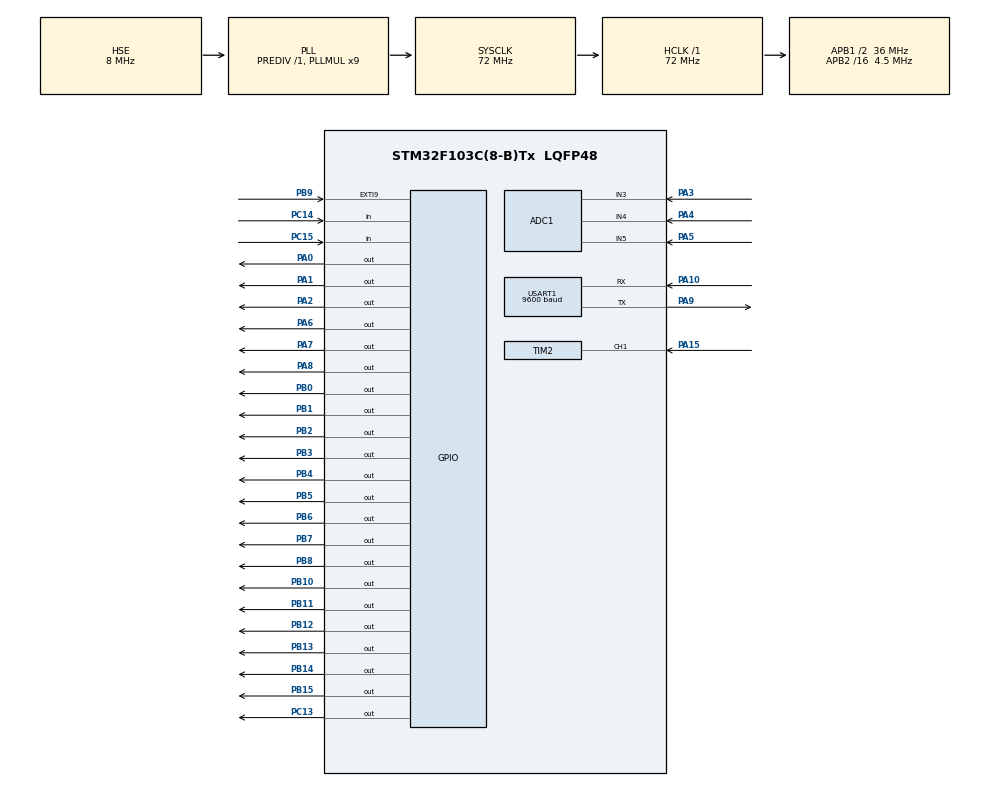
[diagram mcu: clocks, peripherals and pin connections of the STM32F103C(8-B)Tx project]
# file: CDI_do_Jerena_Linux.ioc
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ADC1.Channel-0\#ChannelRegularConversion=ADC_CHANNEL_3
ADC1.Channel-1\#ChannelRegularConversion=ADC_CHANNEL_4
ADC1.Channel-2\#ChannelRegularConversion=ADC_CHANNEL_5
ADC1.Channel-3\#ChannelRegularConversion=ADC_CHANNEL_TEMPSENSOR
ADC1.ContinuousConvMode=ENABLE
ADC1.NbrOfConversion=4
ADC1.NbrOfConversionFlag=1
ADC1.Rank-0\#ChannelRegularConversion=1
ADC1.Rank-1\#ChannelRegularConversion=2
ADC1.Rank-2\#ChannelRegularConversion=3
ADC1.Rank-3\#ChannelRegularConversion=4
ADC1.SamplingTime-0\#ChannelRegularConversion=ADC_SAMPLETIME_239CYCLES_5
ADC1.SamplingTime-1\#ChannelRegularConversion=ADC_SAMPLETIME_239CYCLES_5
ADC1.SamplingTime-2\#ChannelRegularConversion=ADC_SAMPLETIME_239CYCLES_5
ADC1.SamplingTime-3\#ChannelRegularConversion=ADC_SAMPLETIME_239CYCLES_5
ADC1.master=1
Dma.ADC1.1.Direction=DMA_PERIPH_TO_MEMORY
Dma.ADC1.1.Instance=DMA1_Channel1
Dma.ADC1.1.MemDataAlignment=DMA_MDATAALIGN_WORD
Dma.ADC1.1.MemInc=DMA_MINC_ENABLE
Dma.ADC1.1.Mode=DMA_CIRCULAR
Dma.ADC1.1.PeriphDataAlignment=DMA_PDATAALIGN_WORD
Dma.ADC1.1.PeriphInc=DMA_PINC_DISABLE
Dma.ADC1.1.Priority=DMA_PRIORITY_LOW
Dma.Request0=USART1_RX
Dma.Request1=ADC1
Dma.Request2=USART1_TX
Dma.USART1_RX.0.Direction=DMA_PERIPH_TO_MEMORY
Dma.USART1_RX.0.Instance=DMA1_Channel5
Dma.USART1_RX.0.MemDataAlignment=DMA_MDATAALIGN_BYTE
Dma.USART1_RX.0.MemInc=DMA_MINC_ENABLE
Dma.USART1_RX.0.Mode=DMA_NORMAL
Dma.USART1_RX.0.PeriphDataAlignment=DMA_PDATAALIGN_BYTE
Dma.USART1_RX.0.PeriphInc=DMA_PINC_DISABLE
Dma.USART1_RX.0.Priority=DMA_PRIORITY_LOW
Dma.USART1_TX.2.Direction=DMA_MEMORY_TO_PERIPH
Dma.USART1_TX.2.Instance=DMA1_Channel4
Dma.USART1_TX.2.MemDataAlignment=DMA_MDATAALIGN_BYTE
Dma.USART1_TX.2.MemInc=DMA_MINC_ENABLE
Dma.USART1_TX.2.Mode=DMA_NORMAL
Dma.USART1_TX.2.PeriphDataAlignment=DMA_PDATAALIGN_BYTE
Dma.USART1_TX.2.PeriphInc=DMA_PINC_DISABLE
Dma.USART1_TX.2.Priority=DMA_PRIORITY_LOW
IWDG.Reload=2000
Mcu.Family=STM32F1
Mcu.Name=STM32F103C(8-B)Tx
Mcu.Package=LQFP48
NVIC.ADC1_2_IRQn=true\:1\:0\:true\:false\:true\:true\:true\:true
NVIC.DMA1_Channel1_IRQn=true\:0\:0\:false\:false\:true\:false\:true\:true
NVIC.DMA1_Channel4_IRQn=true\:0\:0\:false\:false\:true\:false\:true\:true
NVIC.DMA1_Channel5_IRQn=true\:0\:0\:false\:false\:true\:false\:true\:true
NVIC.EXTI9_5_IRQn=true\:0\:0\:false\:false\:true\:true\:true\:true
NVIC.FLASH_IRQn=true\:0\:0\:false\:false\:true\:true\:true\:true
NVIC.PVD_IRQn=true\:0\:0\:false\:false\:true\:true\:true\:true
NVIC.PriorityGroup=NVIC_PRIORITYGROUP_3
NVIC.RCC_IRQn=true\:0\:0\:false\:false\:true\:true\:false\:true
NVIC.TIM2_IRQn=true\:0\:0\:true\:false\:true\:true\:true\:true
NVIC.TIM4_IRQn=true\:0\:0\:true\:false\:true\:true\:true\:true
NVIC.USART1_IRQn=true\:3\:0\:true\:false\:true\:true\:true\:true
PA0-WKUP.GPIO_Speed=GPIO_SPEED_FREQ_HIGH
PA0-WKUP.Signal=GPIO_Output
PA1.GPIO_Speed=GPIO_SPEED_FREQ_HIGH
PA1.Signal=GPIO_Output
PA10.Mode=Asynchronous
PA10.Signal=USART1_RX
PA11.Signal=CAN_RX
PA12.Signal=CAN_TX
PA13.Mode=Serial_Wire
PA13.Signal=SYS_JTMS-SWDIO
PA14.Mode=Serial_Wire
PA14.Signal=SYS_JTCK-SWCLK
PA15.Signal=S_TIM2_CH1_ETR
PA2.GPIO_Speed=GPIO_SPEED_FREQ_HIGH
PA2.Signal=GPIO_Output
PA3.Signal=ADCx_IN3
PA4.Signal=ADCx_IN4
PA5.Signal=ADCx_IN5
PA6.GPIO_Speed=GPIO_SPEED_FREQ_HIGH
PA6.Signal=GPIO_Output
PA7.GPIO_ModeDefaultOutputPP=GPIO_MODE_OUTPUT_OD
PA7.Signal=GPIO_Output
PA8.Signal=GPIO_Output
PA9.Mode=Asynchronous
PA9.Signal=USART1_TX
PB0.GPIO_Speed=GPIO_SPEED_FREQ_HIGH
PB0.Signal=GPIO_Output
PB1.GPIO_ModeDefaultOutputPP=GPIO_MODE_OUTPUT_PP
PB1.GPIO_PuPd=GPIO_NOPULL
PB1.GPIO_Speed=GPIO_SPEED_FREQ_HIGH
PB1.Signal=GPIO_Output
PB10.Signal=GPIO_Output
PB11.Signal=GPIO_Output
PB12.Signal=GPIO_Output
PB13.Signal=GPIO_Output
PB14.Signal=GPIO_Output
PB15.Signal=GPIO_Output
PB2.Signal=GPIO_Output
PB3.Signal=GPIO_Output
PB4.Signal=GPIO_Output
PB5.Signal=GPIO_Output
PB6.Signal=GPIO_Output
PB7.Signal=GPIO_Output
PB8.GPIO_ModeDefaultOutputPP=GPIO_MODE_OUTPUT_OD
PB8.Signal=GPIO_Output
PB9.Signal=GPXTI9
PC13-TAMPER-RTC.GPIO_ModeDefaultOutputPP=GPIO_MODE_OUTPUT_PP
PC13-TAMPER-RTC.GPIO_PuPd=GPIO_NOPULL
PC13-TAMPER-RTC.GPIO_Speed=GPIO_SPEED_FREQ_HIGH
PC13-TAMPER-RTC.PinState=GPIO_PIN_RESET
PC13-TAMPER-RTC.Signal=GPIO_Output
PC14-OSC32_IN.Signal=GPIO_Input
PC15-OSC32_OUT.Signal=GPIO_Input
PD0-OSC_IN.Mode=HSE-External-Oscillator
PD0-OSC_IN.Signal=RCC_OSC_IN
PD1-OSC_OUT.Mode=HSE-External-Oscillator
PD1-OSC_OUT.Signal=RCC_OSC_OUT
ProjectManager.HeapSize=0x200
ProjectManager.StackSize=0x400
ProjectManager.TargetToolchain=STM32CubeIDE
RCC.ADCPresc=RCC_ADCPCLK2_DIV8
RCC.AHBFreq_Value=72000000
RCC.APB1CLKDivider=RCC_HCLK_DIV2
RCC.APB1Freq_Value=36000000
RCC.APB1TimFreq_Value=72000000
RCC.APB2CLKDivider=RCC_HCLK_DIV16
RCC.APB2Freq_Value=4500000
RCC.APB2TimFreq_Value=9000000
RCC.HCLKFreq_Value=72000000
RCC.PLLMUL=RCC_PLL_MUL9
RCC.PLLSourceVirtual=RCC_PLLSOURCE_HSE
RCC.SYSCLKFreq_VALUE=72000000
RCC.SYSCLKSource=RCC_SYSCLKSOURCE_PLLCLK
RCC.USBFreq_Value=72000000
SH.ADCx_IN3.0=ADC1_IN3,IN3
SH.ADCx_IN4.0=ADC1_IN4,IN4
SH.ADCx_IN5.0=ADC1_IN5,IN5
SH.S_TIM2_CH1_ETR.0=TIM2_CH1,Input_Capture1_from_TI1
SH.S_TIM2_CH1_ETR.1=TIM2_CH1,Input_Capture2_from_TI1
TIM2.AutoReloadPreload=TIM_AUTORELOAD_PRELOAD_DISABLE
TIM2.Channel-Input_Capture1_from_TI1=TIM_CHANNEL_1
TIM2.Channel-Input_Capture2_from_TI1=TIM_CHANNEL_2
TIM2.ClockDivision=TIM_CLOCKDIVISION_DIV1
TIM2.CounterMode=TIM_COUNTERMODE_UP
TIM2.ICFilter_CH1=3
TIM2.ICPolarity_CH1=TIM_INPUTCHANNELPOLARITY_FALLING
TIM2.ICPolarity_CH2=TIM_INPUTCHANNELPOLARITY_RISING
TIM2.Period=65535
TIM2.Prescaler=55
TIM2.TIM_MasterOutputTrigger=TIM_TRGO_RESET
TIM4.Channel-Output\ Compare1\ No\ Output=TIM_CHANNEL_1
TIM4.Channel-Output\ Compare2\ No\ Output=TIM_CHANNEL_2
TIM4.Channel-Output\ Compare3\ No\ Output=TIM_CHANNEL_3
TIM4.Channel-Output\ Compare4\ No\ Output=TIM_CHANNEL_4
TIM4.OCMode_1=TIM_OCMODE_ACTIVE
TIM4.OCMode_2=TIM_OCMODE_ACTIVE
TIM4.OCPolarity_1=TIM_OCPOLARITY_LOW
TIM4.OCPolarity_2=TIM_OCPOLARITY_LOW
TIM4.Period=65535
TIM4.Prescaler=55
USART1.BaudRate=9600
USART1.VirtualMode=VM_ASYNC
VP_ADC1_TempSens_Input.Mode=IN-TempSens
VP_IWDG_VS_IWDG.Mode=IWDG_Activate
VP_TIM2_VS_ClockSourceINT.Mode=Internal
VP_TIM4_VS_ClockSourceINT.Mode=Internal
VP_TIM4_VS_no_output1.Mode=Output Compare1 No Output
VP_TIM4_VS_no_output2.Mode=Output Compare2 No Output
VP_TIM4_VS_no_output3.Mode=Output Compare3 No Output
VP_TIM4_VS_no_output4.Mode=Output Compare4 No Output
board=custom

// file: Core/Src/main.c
/* USER CODE BEGIN Header */
/**
  ******************************************************************************
  * @file           : main.c
  * @brief          : Main program body
  ******************************************************************************
  * @attention
  *
  * <h2><center>&copy; Copyright (c) 2020 STMicroelectronics.
  * All rights reserved.</center></h2>
  *
  * This software component is licensed by ST under BSD 3-Clause license,
  * the "License"; You may not use this file except in compliance with the
  * License. You may obtain a copy of the License at:
  *                        opensource.org/licenses/BSD-3-Clause
  *
  ******************************************************************************
  */
/* USER CODE END Header */
#include "main.h"

/* USER CODE BEGIN Includes */
#include "IO_CONTROL.h"
#include "GENERAL_DEF.h"
#include "SCHEDULLER.h"
#include "FLASH_PAGE.h"
#include "USART_COMM.h"
#include "TIMER_FUNC.h"
#include "MATH_LIB.h"
#include "IGN_MGMT.h"
#include "APPLICATION.h"

/* USER CODE END Includes */

ADC_HandleTypeDef hadc1;
DMA_HandleTypeDef hdma_adc1;

IWDG_HandleTypeDef hiwdg;

TIM_HandleTypeDef htim2;
TIM_HandleTypeDef htim4;

UART_HandleTypeDef huart1;
DMA_HandleTypeDef hdma_usart1_rx;
DMA_HandleTypeDef hdma_usart1_tx;

void SystemClock_Config(void);
static void MX_GPIO_Init(void);
static void MX_DMA_Init(void);
static void MX_TIM2_Init(void);
static void MX_TIM4_Init(void);
static void MX_ADC1_Init(void);
static void MX_USART1_UART_Init(void);
static void MX_IWDG_Init(void);

int main(void)
{

  /* MCU Configuration--------------------------------------------------------*/

  /* Reset of all peripherals, Initializes the Flash interface and the Systick. */
  HAL_Init();

  /* USER CODE BEGIN Init */

  //System Initialization
  memoryInitialization();
  resetCauseAnalysis();     //Needs to running after memoryInitialization();
  Variables_Init();

  /* USER CODE END Init */

  /* Configure the system clock */
  SystemClock_Config();

  /* Initialize all configured peripherals */
  MX_GPIO_Init();
  MX_DMA_Init();
  MX_TIM2_Init();
  MX_TIM4_Init();
  MX_ADC1_Init();
  MX_USART1_UART_Init();
  MX_IWDG_Init();
  /* USER CODE BEGIN 2 */
  //I will insert the routine to overwrite the interruption edge according FLASH calibration
  overwriteIntEdgeFromCalib();

  HAL_ADC_Start_DMA(&hadc1,adcInputs,4);
  __HAL_TIM_ENABLE_IT(&htim2, TIM_IT_UPDATE);
  HAL_TIM_IC_Start_IT(&htim2, TIM_CHANNEL_1);
  HAL_TIM_IC_Start_IT(&htim2, TIM_CHANNEL_2);
  HAL_UART_Receive_DMA(&huart1, (uint8_t*)UART1_rxBuffer, sizeof(UART1_rxBuffer));
  HAL_UART_Transmit_DMA(&huart1, (uint8_t*)UART1_txBuffer, sizeof(UART1_txBuffer));

  //Hardware initialization
  Hardware_Init();
  /* USER CODE END 2 */

  /* Infinite loop */
  /* USER CODE BEGIN WHILE */
  while (TRUE)
  {

	//Update the pulse calc scenario
    if (scenario.Update_calc == TRUE)
    {
        Set_Pulse_Program();
        scenario.Update_calc = FALSE;
    }

    Running_Scheduller();

    /* USER CODE END WHILE */

  }
}

void SystemClock_Config(void)
{
  RCC_OscInitTypeDef RCC_OscInitStruct = {0};
  RCC_ClkInitTypeDef RCC_ClkInitStruct = {0};
  RCC_PeriphCLKInitTypeDef PeriphClkInit = {0};

  /** Initializes the RCC Oscillators according to the specified parameters
  * in the RCC_OscInitTypeDef structure.
  */
  RCC_OscInitStruct.OscillatorType = RCC_OSCILLATORTYPE_LSI|RCC_OSCILLATORTYPE_HSE;
  RCC_OscInitStruct.HSEState = RCC_HSE_ON;
  RCC_OscInitStruct.HSEPredivValue = RCC_HSE_PREDIV_DIV1;
  RCC_OscInitStruct.HSIState = RCC_HSI_ON;
  RCC_OscInitStruct.LSIState = RCC_LSI_ON;
  RCC_OscInitStruct.PLL.PLLState = RCC_PLL_ON;
  RCC_OscInitStruct.PLL.PLLSource = RCC_PLLSOURCE_HSE;
  RCC_OscInitStruct.PLL.PLLMUL = RCC_PLL_MUL9;
  if (HAL_RCC_OscConfig(&RCC_OscInitStruct) != HAL_OK)
  {
    Error_Handler();
  }
  /** Initializes the CPU, AHB and APB buses clocks
  */
  RCC_ClkInitStruct.ClockType = RCC_CLOCKTYPE_HCLK|RCC_CLOCKTYPE_SYSCLK
                              |RCC_CLOCKTYPE_PCLK1|RCC_CLOCKTYPE_PCLK2;
  RCC_ClkInitStruct.SYSCLKSource = RCC_SYSCLKSOURCE_PLLCLK;
  RCC_ClkInitStruct.AHBCLKDivider = RCC_SYSCLK_DIV1;
  RCC_ClkInitStruct.APB1CLKDivider = RCC_HCLK_DIV2;
  RCC_ClkInitStruct.APB2CLKDivider = RCC_HCLK_DIV16;

  if (HAL_RCC_ClockConfig(&RCC_ClkInitStruct, FLASH_LATENCY_2) != HAL_OK)
  {
    Error_Handler();
  }
  PeriphClkInit.PeriphClockSelection = RCC_PERIPHCLK_ADC;
  PeriphClkInit.AdcClockSelection = RCC_ADCPCLK2_DIV8;
  if (HAL_RCCEx_PeriphCLKConfig(&PeriphClkInit) != HAL_OK)
  {
    Error_Handler();
  }
}

static void MX_ADC1_Init(void)
{

  ADC_ChannelConfTypeDef sConfig = {0};

  /** Common config
  */
  hadc1.Instance = ADC1;
  hadc1.Init.ScanConvMode = ADC_SCAN_ENABLE;
  hadc1.Init.ContinuousConvMode = ENABLE;
  hadc1.Init.DiscontinuousConvMode = DISABLE;
  hadc1.Init.ExternalTrigConv = ADC_SOFTWARE_START;
  hadc1.Init.DataAlign = ADC_DATAALIGN_RIGHT;
  hadc1.Init.NbrOfConversion = 4;
  if (HAL_ADC_Init(&hadc1) != HAL_OK)
  {
    Error_Handler();
  }
  /** Configure Regular Channel
  */
  sConfig.Channel = ADC_CHANNEL_3;
  sConfig.Rank = ADC_REGULAR_RANK_1;
  sConfig.SamplingTime = ADC_SAMPLETIME_239CYCLES_5;
  if (HAL_ADC_ConfigChannel(&hadc1, &sConfig) != HAL_OK)
  {
    Error_Handler();
  }
  /** Configure Regular Channel
  */
  sConfig.Channel = ADC_CHANNEL_4;
  sConfig.Rank = ADC_REGULAR_RANK_2;
  if (HAL_ADC_ConfigChannel(&hadc1, &sConfig) != HAL_OK)
  {
    Error_Handler();
  }
  /** Configure Regular Channel
  */
  sConfig.Channel = ADC_CHANNEL_5;
  sConfig.Rank = ADC_REGULAR_RANK_3;
  if (HAL_ADC_ConfigChannel(&hadc1, &sConfig) != HAL_OK)
  {
    Error_Handler();
  }
  /** Configure Regular Channel
  */
  sConfig.Channel = ADC_CHANNEL_TEMPSENSOR;
  sConfig.Rank = ADC_REGULAR_RANK_4;
  if (HAL_ADC_ConfigChannel(&hadc1, &sConfig) != HAL_OK)
  {
    Error_Handler();
  }

}

static void MX_IWDG_Init(void)
{

  hiwdg.Instance = IWDG;
  hiwdg.Init.Prescaler = IWDG_PRESCALER_4;
  hiwdg.Init.Reload = 2000;
  if (HAL_IWDG_Init(&hiwdg) != HAL_OK)
  {
    Error_Handler();
  }

}

static void MX_TIM2_Init(void)
{

  TIM_ClockConfigTypeDef sClockSourceConfig = {0};
  TIM_MasterConfigTypeDef sMasterConfig = {0};
  TIM_IC_InitTypeDef sConfigIC = {0};

  htim2.Instance = TIM2;
  htim2.Init.Prescaler = 55;
  htim2.Init.CounterMode = TIM_COUNTERMODE_UP;
  htim2.Init.Period = 65535;
  htim2.Init.ClockDivision = TIM_CLOCKDIVISION_DIV1;
  htim2.Init.AutoReloadPreload = TIM_AUTORELOAD_PRELOAD_DISABLE;
  if (HAL_TIM_Base_Init(&htim2) != HAL_OK)
  {
    Error_Handler();
  }
  sClockSourceConfig.ClockSource = TIM_CLOCKSOURCE_INTERNAL;
  if (HAL_TIM_ConfigClockSource(&htim2, &sClockSourceConfig) != HAL_OK)
  {
    Error_Handler();
  }
  if (HAL_TIM_IC_Init(&htim2) != HAL_OK)
  {
    Error_Handler();
  }
  sMasterConfig.MasterOutputTrigger = TIM_TRGO_RESET;
  sMasterConfig.MasterSlaveMode = TIM_MASTERSLAVEMODE_DISABLE;
  if (HAL_TIMEx_MasterConfigSynchronization(&htim2, &sMasterConfig) != HAL_OK)
  {
    Error_Handler();
  }
  sConfigIC.ICPolarity = TIM_INPUTCHANNELPOLARITY_FALLING;
  sConfigIC.ICSelection = TIM_ICSELECTION_DIRECTTI;
  sConfigIC.ICPrescaler = TIM_ICPSC_DIV1;
  sConfigIC.ICFilter = 3;
  if (HAL_TIM_IC_ConfigChannel(&htim2, &sConfigIC, TIM_CHANNEL_1) != HAL_OK)
  {
    Error_Handler();
  }
  sConfigIC.ICPolarity = TIM_INPUTCHANNELPOLARITY_RISING;
  sConfigIC.ICSelection = TIM_ICSELECTION_INDIRECTTI;
  sConfigIC.ICFilter = 0;
  if (HAL_TIM_IC_ConfigChannel(&htim2, &sConfigIC, TIM_CHANNEL_2) != HAL_OK)
  {
    Error_Handler();
  }

}

static void MX_TIM4_Init(void)
{

  TIM_ClockConfigTypeDef sClockSourceConfig = {0};
  TIM_MasterConfigTypeDef sMasterConfig = {0};
  TIM_OC_InitTypeDef sConfigOC = {0};

  htim4.Instance = TIM4;
  htim4.Init.Prescaler = 55;
  htim4.Init.CounterMode = TIM_COUNTERMODE_UP;
  htim4.Init.Period = 65535;
  htim4.Init.ClockDivision = TIM_CLOCKDIVISION_DIV1;
  htim4.Init.AutoReloadPreload = TIM_AUTORELOAD_PRELOAD_DISABLE;
  if (HAL_TIM_Base_Init(&htim4) != HAL_OK)
  {
    Error_Handler();
  }
  sClockSourceConfig.ClockSource = TIM_CLOCKSOURCE_INTERNAL;
  if (HAL_TIM_ConfigClockSource(&htim4, &sClockSourceConfig) != HAL_OK)
  {
    Error_Handler();
  }
  if (HAL_TIM_OC_Init(&htim4) != HAL_OK)
  {
    Error_Handler();
  }
  sMasterConfig.MasterOutputTrigger = TIM_TRGO_RESET;
  sMasterConfig.MasterSlaveMode = TIM_MASTERSLAVEMODE_DISABLE;
  if (HAL_TIMEx_MasterConfigSynchronization(&htim4, &sMasterConfig) != HAL_OK)
  {
    Error_Handler();
  }
  sConfigOC.OCMode = TIM_OCMODE_ACTIVE;
  sConfigOC.Pulse = 0;
  sConfigOC.OCPolarity = TIM_OCPOLARITY_LOW;
  sConfigOC.OCFastMode = TIM_OCFAST_DISABLE;
  if (HAL_TIM_OC_ConfigChannel(&htim4, &sConfigOC, TIM_CHANNEL_1) != HAL_OK)
  {
    Error_Handler();
  }
  if (HAL_TIM_OC_ConfigChannel(&htim4, &sConfigOC, TIM_CHANNEL_2) != HAL_OK)
  {
    Error_Handler();
  }
  sConfigOC.OCMode = TIM_OCMODE_TIMING;
  sConfigOC.OCPolarity = TIM_OCPOLARITY_HIGH;
  if (HAL_TIM_OC_ConfigChannel(&htim4, &sConfigOC, TIM_CHANNEL_3) != HAL_OK)
  {
    Error_Handler();
  }
  if (HAL_TIM_OC_ConfigChannel(&htim4, &sConfigOC, TIM_CHANNEL_4) != HAL_OK)
  {
    Error_Handler();
  }

}

static void MX_USART1_UART_Init(void)
{

  huart1.Instance = USART1;
  huart1.Init.BaudRate = 9600;
  huart1.Init.WordLength = UART_WORDLENGTH_8B;
  huart1.Init.StopBits = UART_STOPBITS_1;
  huart1.Init.Parity = UART_PARITY_NONE;
  huart1.Init.Mode = UART_MODE_TX_RX;
  huart1.Init.HwFlowCtl = UART_HWCONTROL_NONE;
  huart1.Init.OverSampling = UART_OVERSAMPLING_16;
  if (HAL_UART_Init(&huart1) != HAL_OK)
  {
    Error_Handler();
  }

}

static void MX_DMA_Init(void)
{

  /* DMA controller clock enable */
  __HAL_RCC_DMA1_CLK_ENABLE();

  /* DMA interrupt init */
  /* DMA1_Channel1_IRQn interrupt configuration */
  HAL_NVIC_SetPriority(DMA1_Channel1_IRQn, 0, 0);
  HAL_NVIC_EnableIRQ(DMA1_Channel1_IRQn);
  /* DMA1_Channel4_IRQn interrupt configuration */
  HAL_NVIC_SetPriority(DMA1_Channel4_IRQn, 0, 0);
  HAL_NVIC_EnableIRQ(DMA1_Channel4_IRQn);
  /* DMA1_Channel5_IRQn interrupt configuration */
  HAL_NVIC_SetPriority(DMA1_Channel5_IRQn, 0, 0);
  HAL_NVIC_EnableIRQ(DMA1_Channel5_IRQn);

}

static void MX_GPIO_Init(void)
{
  GPIO_InitTypeDef GPIO_InitStruct = {0};

  /* GPIO Ports Clock Enable */
  __HAL_RCC_GPIOC_CLK_ENABLE();
  __HAL_RCC_GPIOD_CLK_ENABLE();
  __HAL_RCC_GPIOA_CLK_ENABLE();
  __HAL_RCC_GPIOB_CLK_ENABLE();

  /*Configure GPIO pin Output Level */
  HAL_GPIO_WritePin(GPIOC, GPIO_PIN_13, GPIO_PIN_RESET);

  /*Configure GPIO pin Output Level */
  HAL_GPIO_WritePin(GPIOA, GPIO_PIN_0|GPIO_PIN_1|GPIO_PIN_2|GPIO_PIN_6
                          |GPIO_PIN_7|GPIO_PIN_8, GPIO_PIN_RESET);

  /*Configure GPIO pin Output Level */
  HAL_GPIO_WritePin(GPIOB, GPIO_PIN_0|GPIO_PIN_1|GPIO_PIN_2|GPIO_PIN_10
                          |GPIO_PIN_11|GPIO_PIN_12|GPIO_PIN_13|GPIO_PIN_14
                          |GPIO_PIN_15|GPIO_PIN_3|GPIO_PIN_4|GPIO_PIN_5
                          |GPIO_PIN_6|GPIO_PIN_7|GPIO_PIN_8, GPIO_PIN_RESET);

  /*Configure GPIO pin : PC13 */
  GPIO_InitStruct.Pin = GPIO_PIN_13;
  GPIO_InitStruct.Mode = GPIO_MODE_OUTPUT_PP;
  GPIO_InitStruct.Pull = GPIO_NOPULL;
  GPIO_InitStruct.Speed = GPIO_SPEED_FREQ_HIGH;
  HAL_GPIO_Init(GPIOC, &GPIO_InitStruct);

  /*Configure GPIO pins : PC14 PC15 */
  GPIO_InitStruct.Pin = GPIO_PIN_14|GPIO_PIN_15;
  GPIO_InitStruct.Mode = GPIO_MODE_INPUT;
  GPIO_InitStruct.Pull = GPIO_NOPULL;
  HAL_GPIO_Init(GPIOC, &GPIO_InitStruct);

  /*Configure GPIO pins : PA0 PA1 PA2 PA6 */
  GPIO_InitStruct.Pin = GPIO_PIN_0|GPIO_PIN_1|GPIO_PIN_2|GPIO_PIN_6;
  GPIO_InitStruct.Mode = GPIO_MODE_OUTPUT_PP;
  GPIO_InitStruct.Pull = GPIO_NOPULL;
  GPIO_InitStruct.Speed = GPIO_SPEED_FREQ_HIGH;
  HAL_GPIO_Init(GPIOA, &GPIO_InitStruct);

  /*Configure GPIO pin : PA7 */
  GPIO_InitStruct.Pin = GPIO_PIN_7;
  GPIO_InitStruct.Mode = GPIO_MODE_OUTPUT_OD;
  GPIO_InitStruct.Pull = GPIO_NOPULL;
  GPIO_InitStruct.Speed = GPIO_SPEED_FREQ_LOW;
  HAL_GPIO_Init(GPIOA, &GPIO_InitStruct);

  /*Configure GPIO pins : PB0 PB1 */
  GPIO_InitStruct.Pin = GPIO_PIN_0|GPIO_PIN_1;
  GPIO_InitStruct.Mode = GPIO_MODE_OUTPUT_PP;
  GPIO_InitStruct.Pull = GPIO_NOPULL;
  GPIO_InitStruct.Speed = GPIO_SPEED_FREQ_HIGH;
  HAL_GPIO_Init(GPIOB, &GPIO_InitStruct);

  /*Configure GPIO pins : PB2 PB10 PB11 PB12
                           PB13 PB14 PB15 PB3
                           PB4 PB5 PB6 PB7 */
  GPIO_InitStruct.Pin = GPIO_PIN_2|GPIO_PIN_10|GPIO_PIN_11|GPIO_PIN_12
                          |GPIO_PIN_13|GPIO_PIN_14|GPIO_PIN_15|GPIO_PIN_3
                          |GPIO_PIN_4|GPIO_PIN_5|GPIO_PIN_6|GPIO_PIN_7;
  GPIO_InitStruct.Mode = GPIO_MODE_OUTPUT_PP;
  GPIO_InitStruct.Pull = GPIO_NOPULL;
  GPIO_InitStruct.Speed = GPIO_SPEED_FREQ_LOW;
  HAL_GPIO_Init(GPIOB, &GPIO_InitStruct);

  /*Configure GPIO pin : PA8 */
  GPIO_InitStruct.Pin = GPIO_PIN_8;
  GPIO_InitStruct.Mode = GPIO_MODE_OUTPUT_PP;
  GPIO_InitStruct.Pull = GPIO_NOPULL;
  GPIO_InitStruct.Speed = GPIO_SPEED_FREQ_LOW;
  HAL_GPIO_Init(GPIOA, &GPIO_InitStruct);

  /*Configure GPIO pin : PA11 */
  GPIO_InitStruct.Pin = GPIO_PIN_11;
  GPIO_InitStruct.Mode = GPIO_MODE_INPUT;
  GPIO_InitStruct.Pull = GPIO_NOPULL;
  HAL_GPIO_Init(GPIOA, &GPIO_InitStruct);

  /*Configure GPIO pin : PA12 */
  GPIO_InitStruct.Pin = GPIO_PIN_12;
  GPIO_InitStruct.Mode = GPIO_MODE_AF_PP;
  GPIO_InitStruct.Speed = GPIO_SPEED_FREQ_HIGH;
  HAL_GPIO_Init(GPIOA, &GPIO_InitStruct);

  /*Configure GPIO pin : PB8 */
  GPIO_InitStruct.Pin = GPIO_PIN_8;
  GPIO_InitStruct.Mode = GPIO_MODE_OUTPUT_OD;
  GPIO_InitStruct.Pull = GPIO_NOPULL;
  GPIO_InitStruct.Speed = GPIO_SPEED_FREQ_LOW;
  HAL_GPIO_Init(GPIOB, &GPIO_InitStruct);

  /*Configure GPIO pin : PB9 */
  GPIO_InitStruct.Pin = GPIO_PIN_9;
  GPIO_InitStruct.Mode = GPIO_MODE_IT_RISING;
  GPIO_InitStruct.Pull = GPIO_NOPULL;
  HAL_GPIO_Init(GPIOB, &GPIO_InitStruct);

  /* EXTI interrupt init*/
  HAL_NVIC_SetPriority(EXTI9_5_IRQn, 0, 0);
  HAL_NVIC_EnableIRQ(EXTI9_5_IRQn);

}

void Error_Handler(void)
{
}

/************************ (C) COPYRIGHT STMicroelectronics *****END OF FILE****/
